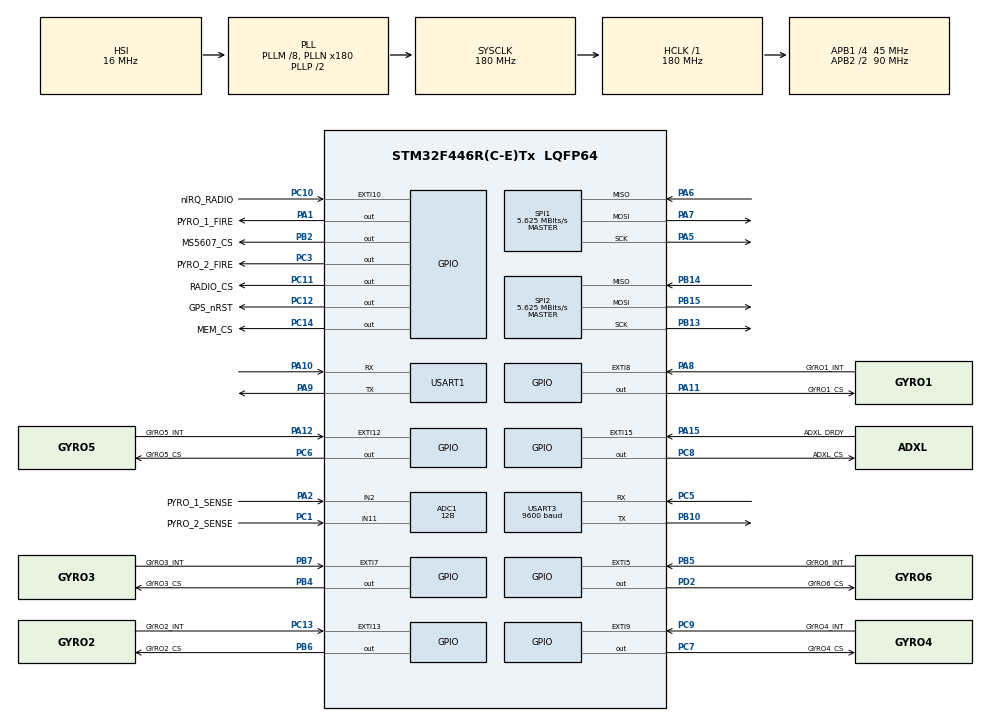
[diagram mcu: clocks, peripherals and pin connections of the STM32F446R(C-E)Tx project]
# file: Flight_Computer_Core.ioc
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ADC1.Channel-0\#ChannelRegularConversion=ADC_CHANNEL_2
ADC1.ClockPrescaler=ADC_CLOCK_SYNC_PCLK_DIV4
ADC1.ContinuousConvMode=DISABLE
ADC1.DMAContinuousRequests=DISABLE
ADC1.DataAlign=ADC_DATAALIGN_RIGHT
ADC1.DiscontinuousConvMode=DISABLE
ADC1.EOCSelection=ADC_EOC_SINGLE_CONV
ADC1.EnableAnalogWatchDog=false
ADC1.ExternalTrigConv=ADC_SOFTWARE_START
ADC1.ExternalTrigConvEdge=ADC_EXTERNALTRIGCONVEDGE_NONE
ADC1.InjNumberOfConversion=0
ADC1.NbrOfConversion=1
ADC1.NbrOfConversionFlag=1
ADC1.Rank-0\#ChannelRegularConversion=1
ADC1.Resolution=ADC_RESOLUTION_12B
ADC1.SamplingTime-0\#ChannelRegularConversion=ADC_SAMPLETIME_3CYCLES
ADC1.ScanConvMode=DISABLE
ADC1.master=1
Mcu.Family=STM32F4
Mcu.Name=STM32F446R(C-E)Tx
Mcu.Package=LQFP64
NVIC.EXTI15_10_IRQn=true\:1\:0\:true\:false\:true\:true
NVIC.EXTI9_5_IRQn=true\:1\:0\:true\:false\:true\:true
NVIC.PriorityGroup=NVIC_PRIORITYGROUP_4
NVIC.TIM1_UP_TIM10_IRQn=true\:1\:0\:true\:false\:true\:true
NVIC.TIM6_DAC_IRQn=true\:1\:0\:true\:false\:true\:true
NVIC.TIM7_IRQn=true\:1\:0\:true\:false\:true\:true
NVIC.USART1_IRQn=true\:0\:0\:false\:false\:true\:true
NVIC.USART3_IRQn=true\:0\:0\:false\:false\:true\:true
PA1.GPIO_Label=PYRO_1_FIRE
PA1.Signal=GPIO_Output
PA10.Mode=Asynchronous
PA10.Signal=USART1_RX
PA11.GPIO_Label=GYRO1_CS
PA11.Signal=GPIO_Output
PA12.GPIO_Label=GYRO5_INT
PA12.Signal=GPXTI12
PA13.Mode=Trace_Asynchronous_SW
PA13.Signal=SYS_JTMS-SWDIO
PA14.Mode=Trace_Asynchronous_SW
PA14.Signal=SYS_JTCK-SWCLK
PA15.GPIO_Label=ADXL_DRDY
PA15.Signal=GPXTI15
PA2.GPIO_Label=PYRO_1_SENSE
PA2.Signal=ADCx_IN2
PA5.Mode=Full_Duplex_Master
PA5.Signal=SPI1_SCK
PA6.Mode=Full_Duplex_Master
PA6.Signal=SPI1_MISO
PA7.Mode=Full_Duplex_Master
PA7.Signal=SPI1_MOSI
PA8.GPIO_Label=GYRO1_INT
PA8.Signal=GPXTI8
PA9.Mode=Asynchronous
PA9.Signal=USART1_TX
PB10.Mode=Asynchronous
PB10.Signal=USART3_TX
PB13.Mode=Full_Duplex_Master
PB13.Signal=SPI2_SCK
PB14.Mode=Full_Duplex_Master
PB14.Signal=SPI2_MISO
PB15.Mode=Full_Duplex_Master
PB15.Signal=SPI2_MOSI
PB2.GPIO_Label=MS5607_CS
PB2.Signal=GPIO_Output
PB3.Mode=Trace_Asynchronous_SW
PB3.Signal=SYS_JTDO-SWO
PB4.GPIO_Label=GYRO3_CS
PB4.Signal=GPIO_Output
PB5.GPIO_Label=GYRO6_INT
PB5.Signal=GPXTI5
PB6.GPIO_Label=GYRO2_CS
PB6.Signal=GPIO_Output
PB7.GPIO_Label=GYRO3_INT
PB7.Signal=GPXTI7
PC1.GPIO_Label=PYRO_2_SENSE
PC1.Signal=ADCx_IN11
PC10.GPIO_Label=nIRQ_RADIO
PC10.GPIO_ModeDefaultEXTI=GPIO_MODE_IT_FALLING
PC10.Signal=GPXTI10
PC11.GPIO_Label=RADIO_CS
PC11.Signal=GPIO_Output
PC12.GPIO_Label=GPS_nRST
PC12.Signal=GPIO_Output
PC13.GPIO_Label=GYRO2_INT
PC13.Signal=GPXTI13
PC14-OSC32_IN.GPIO_Label=MEM_CS
PC14-OSC32_IN.Signal=GPIO_Output
PC3.GPIO_Label=PYRO_2_FIRE
PC3.Signal=GPIO_Output
PC5.Mode=Asynchronous
PC5.Signal=USART3_RX
PC6.GPIO_Label=GYRO5_CS
PC6.Signal=GPIO_Output
PC7.GPIO_Label=GYRO4_CS
PC7.Signal=GPIO_Output
PC8.GPIO_Label=ADXL_CS
PC8.Signal=GPIO_Output
PC9.GPIO_Label=GYRO4_INT
PC9.Signal=GPXTI9
PD2.GPIO_Label=GYRO6_CS
PD2.Signal=GPIO_Output
ProjectManager.HeapSize=0x200
ProjectManager.StackSize=0x400
ProjectManager.TargetToolchain=Other Toolchains (GPDSC)
RCC.AHBFreq_Value=180000000
RCC.APB1CLKDivider=RCC_HCLK_DIV4
RCC.APB1Freq_Value=45000000
RCC.APB1TimFreq_Value=90000000
RCC.APB2CLKDivider=RCC_HCLK_DIV2
RCC.APB2Freq_Value=90000000
RCC.APB2TimFreq_Value=180000000
RCC.CortexFreq_Value=180000000
RCC.HCLKFreq_Value=180000000
RCC.PLLM=8
RCC.PLLN=180
RCC.SYSCLKFreq_VALUE=180000000
RCC.SYSCLKSource=RCC_SYSCLKSOURCE_PLLCLK
RCC.USBFreq_Value=180000000
RCC.VCOOutputFreq_Value=360000000
SH.ADCx_IN11.0=ADC1_IN11,IN11
SH.ADCx_IN2.0=ADC1_IN2,IN2
SPI1.BaudRatePrescaler=SPI_BAUDRATEPRESCALER_16
SPI1.CalculateBaudRate=5.625 MBits/s
SPI1.Direction=SPI_DIRECTION_2LINES
SPI1.Mode=SPI_MODE_MASTER
SPI1.VirtualType=VM_MASTER
SPI2.BaudRatePrescaler=SPI_BAUDRATEPRESCALER_8
SPI2.CalculateBaudRate=5.625 MBits/s
SPI2.Direction=SPI_DIRECTION_2LINES
SPI2.Mode=SPI_MODE_MASTER
SPI2.VirtualType=VM_MASTER
TIM10.Period=99
TIM10.Prescaler=1799
TIM6.Period=99
TIM6.Prescaler=17999
TIM7.Period=2000
TIM7.Prescaler=17999
USART1.VirtualMode=VM_ASYNC
USART3.BaudRate=9600
USART3.VirtualMode=VM_ASYNC
VP_TIM10_VS_ClockSourceINT.Mode=Enable_Timer
VP_TIM6_VS_ClockSourceINT.Mode=Enable_Timer
VP_TIM7_VS_ClockSourceINT.Mode=Enable_Timer
board=Flight_Computer_Core

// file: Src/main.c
/**
  ******************************************************************************
  * File Name          : main.c
  * Description        : Main program body
  ******************************************************************************
  ** This notice applies to any and all portions of this file
  * that are not between comment pairs USER CODE BEGIN and
  * USER CODE END. Other portions of this file, whether
  * inserted by the user or by software development tools
  * are owned by their respective copyright owners.
  *
  * COPYRIGHT(c) 2018 STMicroelectronics
  *
  * Redistribution and use in source and binary forms, with or without modification,
  * are permitted provided that the following conditions are met:
  *   1. Redistributions of source code must retain the above copyright notice,
  *      this list of conditions and the following disclaimer.
  *   2. Redistributions in binary form must reproduce the above copyright notice,
  *      this list of conditions and the following disclaimer in the documentation
  *      and/or other materials provided with the distribution.
  *   3. Neither the name of STMicroelectronics nor the names of its contributors
  *      may be used to endorse or promote products derived from this software
  *      without specific prior written permission.
  *
  * THIS SOFTWARE IS PROVIDED BY THE COPYRIGHT HOLDERS AND CONTRIBUTORS "AS IS"
  * AND ANY EXPRESS OR IMPLIED WARRANTIES, INCLUDING, BUT NOT LIMITED TO, THE
  * IMPLIED WARRANTIES OF MERCHANTABILITY AND FITNESS FOR A PARTICULAR PURPOSE ARE
  * DISCLAIMED. IN NO EVENT SHALL THE COPYRIGHT HOLDER OR CONTRIBUTORS BE LIABLE
  * FOR ANY DIRECT, INDIRECT, INCIDENTAL, SPECIAL, EXEMPLARY, OR CONSEQUENTIAL
  * DAMAGES (INCLUDING, BUT NOT LIMITED TO, PROCUREMENT OF SUBSTITUTE GOODS OR
  * SERVICES; LOSS OF USE, DATA, OR PROFITS; OR BUSINESS INTERRUPTION) HOWEVER
  * CAUSED AND ON ANY THEORY OF LIABILITY, WHETHER IN CONTRACT, STRICT LIABILITY,
  * OR TORT (INCLUDING NEGLIGENCE OR OTHERWISE) ARISING IN ANY WAY OUT OF THE USE
  * OF THIS SOFTWARE, EVEN IF ADVISED OF THE POSSIBILITY OF SUCH DAMAGE.
  *
  ******************************************************************************
  */

#include "main.h"
#include "stm32f4xx_hal.h"

/* USER CODE BEGIN Includes */

/*
                                                                   `-/+osyhdmmNNy`
                                                             `-/shmNmhyso+/oMMMy`
                                                         `-+hmNdy+:.`     /mMNo`
                                                     `.:smNds/.`        .yNMm:
                                             `.:+oosmmNmy+.`          .sNMNo`
                                        `-/syhs+:./hmy/`    `::     .odmms.
       ./oyyyo:`       ./oyyy+-      ./ymNyo+oo+/:+/.    ./o//+++//+oso+o++:       .:/++/:.
      :mNNNNNNNh-     /mNNNNNNmy. -odNMMN++dmmdhddd/ `:odNs/hydddmNmdddmmmmo      /ddmmmmdh/
      hNNNmsmNNNm-    hNNNmsmNNms.dNMMMM/-mNdyydmmdd-sNMMh-Ndmmmysossssssss/     -dmmmdhmmmd-
      hNNNh :NNNNh`   hNNNy /NNmm/-+oo++.dNNdd-:dmNNd-NMMo+mddd:                `ymmmd:-dmmmh`
      hNNNh  oNNNN/   hNNNy .omNNm.ddhy-+mNNNo.:sMNNNo+MN/-dmmmho+++++++/-`     +mmmmo  ommmmo
      hNNNh  `dNNNd`  hNNNy-d-dNNm/.-...dhNNh` y.mNNNN-o.  +dmmmmmmmmmmmmmh:   -dmmmh`  `hmmmd-
      hNNNh   :NNNN/  hNmmy:Ms/mdhh.:.`omdmh- .Ny:NNNdy     .+syyyyyyyydmmmd- `ymmmm:    -dmmmy`
      hNNNh    hNNNd` hmNNy:Nh.syss/``+ddmho-:mMM:odmmm/               :mmmmo /mmmmo      ommmm/
      hNNNh    -NNNNy:dmNNy:mms:yoos-.hmmdd-mMNd+.`dmmmd`  .////////::/smmmm/.dmmmh`      `hmmmd.
      hNNNh     +mNNNNNmNm+/yso.odmmyyNddN:sdo-    :mmmms  +mmmmmmmdymmmmmmo`smmmm:        -dmmms
      sddds      -ohdddhs+sdNNMy:dsyhhyydo`-        ohhhh. /hhhhhhysshhhyo- .yhhho          +yyyy.
                    ``` :NMMMMMMh:   .:`                      `.+s.
                         /mMMMMMMs                         `./hmy-
                          .omMMMMMs.`                  `./sdNNy:
                          .-./smNMMMmho+:-..``...-:/oshmMMNmo.
                           :yhysoyNMMMMMMMMMMMMMMMMMMMMNdo-
                             .+ymMMMMMMMMMMMMMMMMMMmyo:`
                                 .-+osyyhhhyyso+:.`
 */

#include "flash.h"
#include "sensors.h"
#include "commandline.h"
#include "GPS.h"
#include "radio.h"
/* USER CODE END Includes */

ADC_HandleTypeDef hadc1;

SPI_HandleTypeDef hspi1;
SPI_HandleTypeDef hspi2;

TIM_HandleTypeDef htim6;
TIM_HandleTypeDef htim7;
TIM_HandleTypeDef htim10;

UART_HandleTypeDef huart1;
UART_HandleTypeDef huart3;

/* USER CODE BEGIN PV */
/* Private variables ---------------------------------------------------------*/

//GLOBALS:
//UART Buffers
uint8_t uart1_in;
buffer uart1_buf;
uint8_t uart3_in;
buffer uart3_buf;
uint16_t packet_number = 0;
uint8_t RSSI;

union flt{
  float f;
  uint8_t bytes[4];
};
union flt float_conv;

//Sensors Structs

//Global Flags
uint8_t radio_int;

/* USER CODE END PV */

void SystemClock_Config(void);
static void MX_GPIO_Init(void);
static void MX_ADC1_Init(void);
static void MX_SPI1_Init(void);
static void MX_SPI2_Init(void);
static void MX_TIM10_Init(void);
static void MX_USART1_UART_Init(void);
static void MX_USART3_UART_Init(void);
static void MX_TIM6_Init(void);
static void MX_TIM7_Init(void);

/* USER CODE BEGIN PFP */
/* Private function prototypes -----------------------------------------------*/

/* USER CODE END PFP */

int main(void)
{

  /* USER CODE BEGIN 1 */

  // Initialize uart command buffer

  /* USER CODE END 1 */

  /* MCU Configuration----------------------------------------------------------*/

  /* Reset of all peripherals, Initializes the Flash interface and the Systick. */
  HAL_Init();

  /* Configure the system clock */
  SystemClock_Config();

  /* Initialize all configured peripherals */
  MX_GPIO_Init();
  MX_ADC1_Init();
  MX_SPI1_Init();
  MX_SPI2_Init();
  MX_TIM10_Init();
  MX_USART1_UART_Init();
  MX_USART3_UART_Init();
  MX_TIM6_Init();
  MX_TIM7_Init();

  /* USER CODE BEGIN 2 */
  HAL_GPIO_WritePin(GYRO1_CS_GPIO_Port, GYRO1_CS_Pin, 1);
  HAL_GPIO_WritePin(GYRO2_CS_GPIO_Port, GYRO2_CS_Pin, 1);
  HAL_GPIO_WritePin(GYRO3_CS_GPIO_Port, GYRO3_CS_Pin, 1);
  HAL_GPIO_WritePin(GYRO4_CS_GPIO_Port, GYRO4_CS_Pin, 1);
  HAL_GPIO_WritePin(GYRO5_CS_GPIO_Port, GYRO5_CS_Pin, 1);
  HAL_GPIO_WritePin(GYRO6_CS_GPIO_Port, GYRO6_CS_Pin, 1);
  HAL_GPIO_WritePin(MS5607_CS_GPIO_Port, MS5607_CS_Pin, 1);
  HAL_GPIO_WritePin(ADXL_CS_GPIO_Port, ADXL_CS_Pin, 1);
  HAL_GPIO_WritePin(GPS_nRST_GPIO_Port, GPS_nRST_Pin, 1);

  volatile uint8_t temp_packet[22] = {0};
  init_radio();
  //radio_initInterrupt();
  radio_rxPacket(temp_packet);

  print("System Initilization Complete\n\0");

  /* USER CODE END 2 */

  /* Infinite loop */
  while (1)
  {

  /* USER CODE BEGIN 3 */
    //Check interrupts
    //if(radio_int == 1){
    HAL_Delay(500);
    radio_rxPacket(temp_packet);
    radio_clearInterrupt();
    RSSI = radio_readRSSI();

        //Pack packet
        //Send to PC over UART
    //}

  }
  /* USER CODE END 3 */

}

/** System Clock Configuration
*/
void SystemClock_Config(void)
{

  RCC_OscInitTypeDef RCC_OscInitStruct;
  RCC_ClkInitTypeDef RCC_ClkInitStruct;

    /**Configure the main internal regulator output voltage
    */
  __HAL_RCC_PWR_CLK_ENABLE();

  __HAL_PWR_VOLTAGESCALING_CONFIG(PWR_REGULATOR_VOLTAGE_SCALE1);

    /**Initializes the CPU, AHB and APB busses clocks
    */
  RCC_OscInitStruct.OscillatorType = RCC_OSCILLATORTYPE_HSI;
  RCC_OscInitStruct.HSIState = RCC_HSI_ON;
  RCC_OscInitStruct.HSICalibrationValue = 16;
  RCC_OscInitStruct.PLL.PLLState = RCC_PLL_ON;
  RCC_OscInitStruct.PLL.PLLSource = RCC_PLLSOURCE_HSI;
  RCC_OscInitStruct.PLL.PLLM = 8;
  RCC_OscInitStruct.PLL.PLLN = 180;
  RCC_OscInitStruct.PLL.PLLP = RCC_PLLP_DIV2;
  RCC_OscInitStruct.PLL.PLLQ = 2;
  RCC_OscInitStruct.PLL.PLLR = 2;
  if (HAL_RCC_OscConfig(&RCC_OscInitStruct) != HAL_OK)
  {
    //_Error_Handler(__FILE__, __LINE__);
  }

    /**Activate the Over-Drive mode
    */
  if (HAL_PWREx_EnableOverDrive() != HAL_OK)
  {
    _Error_Handler(__FILE__, __LINE__);
  }

    /**Initializes the CPU, AHB and APB busses clocks
    */
  RCC_ClkInitStruct.ClockType = RCC_CLOCKTYPE_HCLK|RCC_CLOCKTYPE_SYSCLK
                              |RCC_CLOCKTYPE_PCLK1|RCC_CLOCKTYPE_PCLK2;
  RCC_ClkInitStruct.SYSCLKSource = RCC_SYSCLKSOURCE_PLLCLK;
  RCC_ClkInitStruct.AHBCLKDivider = RCC_SYSCLK_DIV1;
  RCC_ClkInitStruct.APB1CLKDivider = RCC_HCLK_DIV4;
  RCC_ClkInitStruct.APB2CLKDivider = RCC_HCLK_DIV2;

  if (HAL_RCC_ClockConfig(&RCC_ClkInitStruct, FLASH_LATENCY_5) != HAL_OK)
  {
    _Error_Handler(__FILE__, __LINE__);
  }

    /**Configure the Systick interrupt time
    */
  HAL_SYSTICK_Config(HAL_RCC_GetHCLKFreq()/1000);

    /**Configure the Systick
    */
  HAL_SYSTICK_CLKSourceConfig(SYSTICK_CLKSOURCE_HCLK);

  /* SysTick_IRQn interrupt configuration */
  HAL_NVIC_SetPriority(SysTick_IRQn, 0, 0);
}

/* ADC1 init function */
static void MX_ADC1_Init(void)
{

  ADC_ChannelConfTypeDef sConfig;

    /**Configure the global features of the ADC (Clock, Resolution, Data Alignment and number of conversion)
    */
  hadc1.Instance = ADC1;
  hadc1.Init.ClockPrescaler = ADC_CLOCK_SYNC_PCLK_DIV4;
  hadc1.Init.Resolution = ADC_RESOLUTION_12B;
  hadc1.Init.ScanConvMode = DISABLE;
  hadc1.Init.ContinuousConvMode = DISABLE;
  hadc1.Init.DiscontinuousConvMode = DISABLE;
  hadc1.Init.ExternalTrigConvEdge = ADC_EXTERNALTRIGCONVEDGE_NONE;
  hadc1.Init.ExternalTrigConv = ADC_SOFTWARE_START;
  hadc1.Init.DataAlign = ADC_DATAALIGN_RIGHT;
  hadc1.Init.NbrOfConversion = 1;
  hadc1.Init.DMAContinuousRequests = DISABLE;
  hadc1.Init.EOCSelection = ADC_EOC_SINGLE_CONV;
  if (HAL_ADC_Init(&hadc1) != HAL_OK)
  {
    _Error_Handler(__FILE__, __LINE__);
  }

    /**Configure for the selected ADC regular channel its corresponding rank in the sequencer and its sample time.
    */
  sConfig.Channel = ADC_CHANNEL_2;
  sConfig.Rank = 1;
  sConfig.SamplingTime = ADC_SAMPLETIME_3CYCLES;
  if (HAL_ADC_ConfigChannel(&hadc1, &sConfig) != HAL_OK)
  {
    _Error_Handler(__FILE__, __LINE__);
  }

}

/* SPI1 init function */
static void MX_SPI1_Init(void)
{

  /* SPI1 parameter configuration*/
  hspi1.Instance = SPI1;
  hspi1.Init.Mode = SPI_MODE_MASTER;
  hspi1.Init.Direction = SPI_DIRECTION_2LINES;
  hspi1.Init.DataSize = SPI_DATASIZE_8BIT;
  hspi1.Init.CLKPolarity = SPI_POLARITY_LOW;
  hspi1.Init.CLKPhase = SPI_PHASE_1EDGE;
  hspi1.Init.NSS = SPI_NSS_SOFT;
  hspi1.Init.BaudRatePrescaler = SPI_BAUDRATEPRESCALER_16;
  hspi1.Init.FirstBit = SPI_FIRSTBIT_MSB;
  hspi1.Init.TIMode = SPI_TIMODE_DISABLE;
  hspi1.Init.CRCCalculation = SPI_CRCCALCULATION_DISABLE;
  hspi1.Init.CRCPolynomial = 10;
  if (HAL_SPI_Init(&hspi1) != HAL_OK)
  {
    _Error_Handler(__FILE__, __LINE__);
  }

}

/* SPI2 init function */
static void MX_SPI2_Init(void)
{

  /* SPI2 parameter configuration*/
  hspi2.Instance = SPI2;
  hspi2.Init.Mode = SPI_MODE_MASTER;
  hspi2.Init.Direction = SPI_DIRECTION_2LINES;
  hspi2.Init.DataSize = SPI_DATASIZE_8BIT;
  hspi2.Init.CLKPolarity = SPI_POLARITY_LOW;
  hspi2.Init.CLKPhase = SPI_PHASE_1EDGE;
  hspi2.Init.NSS = SPI_NSS_SOFT;
  hspi2.Init.BaudRatePrescaler = SPI_BAUDRATEPRESCALER_8;
  hspi2.Init.FirstBit = SPI_FIRSTBIT_MSB;
  hspi2.Init.TIMode = SPI_TIMODE_DISABLE;
  hspi2.Init.CRCCalculation = SPI_CRCCALCULATION_DISABLE;
  hspi2.Init.CRCPolynomial = 10;
  if (HAL_SPI_Init(&hspi2) != HAL_OK)
  {
    _Error_Handler(__FILE__, __LINE__);
  }

}

/* TIM6 init function */
static void MX_TIM6_Init(void)
{

  TIM_MasterConfigTypeDef sMasterConfig;

  htim6.Instance = TIM6;
  htim6.Init.Prescaler = 17999;
  htim6.Init.CounterMode = TIM_COUNTERMODE_UP;
  htim6.Init.Period = 99;
  if (HAL_TIM_Base_Init(&htim6) != HAL_OK)
  {
    _Error_Handler(__FILE__, __LINE__);
  }

  sMasterConfig.MasterOutputTrigger = TIM_TRGO_RESET;
  sMasterConfig.MasterSlaveMode = TIM_MASTERSLAVEMODE_DISABLE;
  if (HAL_TIMEx_MasterConfigSynchronization(&htim6, &sMasterConfig) != HAL_OK)
  {
    _Error_Handler(__FILE__, __LINE__);
  }

}

/* TIM7 init function */
static void MX_TIM7_Init(void)
{

  TIM_MasterConfigTypeDef sMasterConfig;

  htim7.Instance = TIM7;
  htim7.Init.Prescaler = 17999;
  htim7.Init.CounterMode = TIM_COUNTERMODE_UP;
  htim7.Init.Period = 2000;
  if (HAL_TIM_Base_Init(&htim7) != HAL_OK)
  {
    _Error_Handler(__FILE__, __LINE__);
  }

  sMasterConfig.MasterOutputTrigger = TIM_TRGO_RESET;
  sMasterConfig.MasterSlaveMode = TIM_MASTERSLAVEMODE_DISABLE;
  if (HAL_TIMEx_MasterConfigSynchronization(&htim7, &sMasterConfig) != HAL_OK)
  {
    _Error_Handler(__FILE__, __LINE__);
  }

}

/* TIM10 init function */
static void MX_TIM10_Init(void)
{

  htim10.Instance = TIM10;
  htim10.Init.Prescaler = 1799;
  htim10.Init.CounterMode = TIM_COUNTERMODE_UP;
  htim10.Init.Period = 99;
  htim10.Init.ClockDivision = TIM_CLOCKDIVISION_DIV1;
  if (HAL_TIM_Base_Init(&htim10) != HAL_OK)
  {
    _Error_Handler(__FILE__, __LINE__);
  }

}

/* USART1 init function */
static void MX_USART1_UART_Init(void)
{

  huart1.Instance = USART1;
  huart1.Init.BaudRate = 115200;
  huart1.Init.WordLength = UART_WORDLENGTH_8B;
  huart1.Init.StopBits = UART_STOPBITS_1;
  huart1.Init.Parity = UART_PARITY_NONE;
  huart1.Init.Mode = UART_MODE_TX_RX;
  huart1.Init.HwFlowCtl = UART_HWCONTROL_NONE;
  huart1.Init.OverSampling = UART_OVERSAMPLING_16;
  if (HAL_UART_Init(&huart1) != HAL_OK)
  {
    _Error_Handler(__FILE__, __LINE__);
  }

}

/* USART3 init function */
static void MX_USART3_UART_Init(void)
{

  huart3.Instance = USART3;
  huart3.Init.BaudRate = 9600;
  huart3.Init.WordLength = UART_WORDLENGTH_8B;
  huart3.Init.StopBits = UART_STOPBITS_1;
  huart3.Init.Parity = UART_PARITY_NONE;
  huart3.Init.Mode = UART_MODE_TX_RX;
  huart3.Init.HwFlowCtl = UART_HWCONTROL_NONE;
  huart3.Init.OverSampling = UART_OVERSAMPLING_16;
  if (HAL_UART_Init(&huart3) != HAL_OK)
  {
    _Error_Handler(__FILE__, __LINE__);
  }

}

/** Configure pins as
        * Analog
        * Input
        * Output
        * EVENT_OUT
        * EXTI
*/
static void MX_GPIO_Init(void)
{

  GPIO_InitTypeDef GPIO_InitStruct;

  /* GPIO Ports Clock Enable */
  __HAL_RCC_GPIOC_CLK_ENABLE();
  __HAL_RCC_GPIOA_CLK_ENABLE();
  __HAL_RCC_GPIOB_CLK_ENABLE();
  __HAL_RCC_GPIOD_CLK_ENABLE();

  /*Configure GPIO pin Output Level */
  HAL_GPIO_WritePin(GPIOC, MEM_CS_Pin|PYRO_2_FIRE_Pin|GYRO5_CS_Pin|GYRO4_CS_Pin
                          |ADXL_CS_Pin|RADIO_CS_Pin|GPS_nRST_Pin, GPIO_PIN_RESET);

  /*Configure GPIO pin Output Level */
  HAL_GPIO_WritePin(GPIOA, PYRO_1_FIRE_Pin|GYRO1_CS_Pin, GPIO_PIN_RESET);

  /*Configure GPIO pin Output Level */
  HAL_GPIO_WritePin(GPIOB, MS5607_CS_Pin|GYRO3_CS_Pin|GYRO2_CS_Pin, GPIO_PIN_RESET);

  /*Configure GPIO pin Output Level */
  HAL_GPIO_WritePin(GYRO6_CS_GPIO_Port, GYRO6_CS_Pin, GPIO_PIN_RESET);

  /*Configure GPIO pins : GYRO2_INT_Pin GYRO4_INT_Pin */
  GPIO_InitStruct.Pin = GYRO2_INT_Pin|GYRO4_INT_Pin;
  GPIO_InitStruct.Mode = GPIO_MODE_IT_RISING;
  GPIO_InitStruct.Pull = GPIO_NOPULL;
  HAL_GPIO_Init(GPIOC, &GPIO_InitStruct);

  /*Configure GPIO pins : MEM_CS_Pin PYRO_2_FIRE_Pin GYRO5_CS_Pin GYRO4_CS_Pin
                           ADXL_CS_Pin RADIO_CS_Pin GPS_nRST_Pin */
  GPIO_InitStruct.Pin = MEM_CS_Pin|PYRO_2_FIRE_Pin|GYRO5_CS_Pin|GYRO4_CS_Pin
                          |ADXL_CS_Pin|RADIO_CS_Pin|GPS_nRST_Pin;
  GPIO_InitStruct.Mode = GPIO_MODE_OUTPUT_PP;
  GPIO_InitStruct.Pull = GPIO_NOPULL;
  GPIO_InitStruct.Speed = GPIO_SPEED_FREQ_LOW;
  HAL_GPIO_Init(GPIOC, &GPIO_InitStruct);

  /*Configure GPIO pins : PYRO_1_FIRE_Pin GYRO1_CS_Pin */
  GPIO_InitStruct.Pin = PYRO_1_FIRE_Pin|GYRO1_CS_Pin;
  GPIO_InitStruct.Mode = GPIO_MODE_OUTPUT_PP;
  GPIO_InitStruct.Pull = GPIO_NOPULL;
  GPIO_InitStruct.Speed = GPIO_SPEED_FREQ_LOW;
  HAL_GPIO_Init(GPIOA, &GPIO_InitStruct);

  /*Configure GPIO pins : MS5607_CS_Pin GYRO3_CS_Pin GYRO2_CS_Pin */
  GPIO_InitStruct.Pin = MS5607_CS_Pin|GYRO3_CS_Pin|GYRO2_CS_Pin;
  GPIO_InitStruct.Mode = GPIO_MODE_OUTPUT_PP;
  GPIO_InitStruct.Pull = GPIO_NOPULL;
  GPIO_InitStruct.Speed = GPIO_SPEED_FREQ_LOW;
  HAL_GPIO_Init(GPIOB, &GPIO_InitStruct);

  /*Configure GPIO pins : GYRO1_INT_Pin GYRO5_INT_Pin ADXL_DRDY_Pin */
  GPIO_InitStruct.Pin = GYRO1_INT_Pin|GYRO5_INT_Pin|ADXL_DRDY_Pin;
  GPIO_InitStruct.Mode = GPIO_MODE_IT_RISING;
  GPIO_InitStruct.Pull = GPIO_NOPULL;
  HAL_GPIO_Init(GPIOA, &GPIO_InitStruct);

  /*Configure GPIO pin : nIRQ_RADIO_Pin */
  GPIO_InitStruct.Pin = nIRQ_RADIO_Pin;
  GPIO_InitStruct.Mode = GPIO_MODE_IT_FALLING;
  GPIO_InitStruct.Pull = GPIO_NOPULL;
  HAL_GPIO_Init(nIRQ_RADIO_GPIO_Port, &GPIO_InitStruct);

  /*Configure GPIO pin : GYRO6_CS_Pin */
  GPIO_InitStruct.Pin = GYRO6_CS_Pin;
  GPIO_InitStruct.Mode = GPIO_MODE_OUTPUT_PP;
  GPIO_InitStruct.Pull = GPIO_NOPULL;
  GPIO_InitStruct.Speed = GPIO_SPEED_FREQ_LOW;
  HAL_GPIO_Init(GYRO6_CS_GPIO_Port, &GPIO_InitStruct);

  /*Configure GPIO pins : GYRO6_INT_Pin GYRO3_INT_Pin */
  GPIO_InitStruct.Pin = GYRO6_INT_Pin|GYRO3_INT_Pin;
  GPIO_InitStruct.Mode = GPIO_MODE_IT_RISING;
  GPIO_InitStruct.Pull = GPIO_NOPULL;
  HAL_GPIO_Init(GPIOB, &GPIO_InitStruct);

  /* EXTI interrupt init*/
  HAL_NVIC_SetPriority(EXTI9_5_IRQn, 1, 0);
  HAL_NVIC_EnableIRQ(EXTI9_5_IRQn);

  HAL_NVIC_SetPriority(EXTI15_10_IRQn, 1, 0);
  HAL_NVIC_EnableIRQ(EXTI15_10_IRQn);

}

void _Error_Handler(char * file, int line)
{
  while(1)
  {
  }
}

/************************ (C) COPYRIGHT STMicroelectronics *****END OF FILE****/
